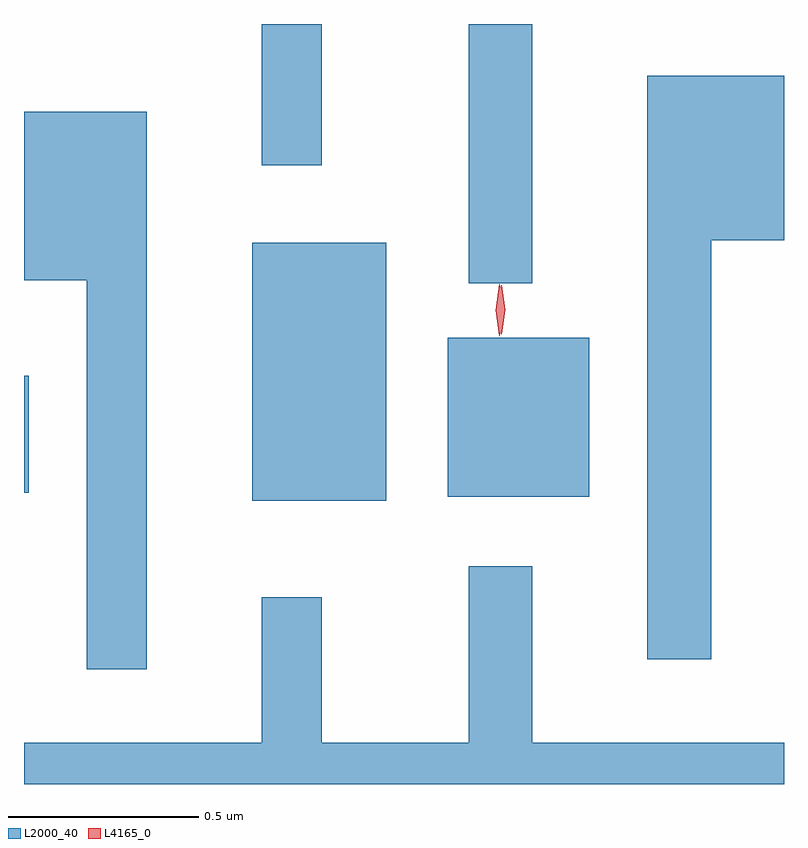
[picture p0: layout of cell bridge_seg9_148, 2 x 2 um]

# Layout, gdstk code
import gdstk
lib = gdstk.Library(unit=1e-6, precision=1e-09)
def R(c, l, rs):  # rectangles x0, y0, x1, y1
    for r in rs: c.add(gdstk.rectangle(r[:2], r[2:], *l))
def P(c, l, *ps):  # polygons
    for p in ps: c.add(gdstk.Polygon(p, *l))
L2000_40 = (2000, 40)
L4165_0 = (4165, 0)

bridge_seg9_148 = lib.new_cell('bridge_seg9_148')
R(bridge_seg9_148, L2000_40, [(1351.791,2077.081,1352.144,2077.759), (1352.306,2077.091,1352.679,2077.509), (1351.191,2077.101,1351.204,2077.409), (1352.361,2077.653,1352.529,2078.335), (1351.816,2077.963,1351.974,2078.335)])
P(bridge_seg9_148, L2000_40, [(1352.999,2077.766),(1353.191,2077.766),(1353.191,2078.199),(1352.831,2078.199),(1352.831,2076.663),(1352.999,2076.663)],
  [(1351.514,2078.104),(1351.191,2078.104),(1351.191,2077.661),(1351.356,2077.661),(1351.356,2076.637),(1351.514,2076.637)],
  [(1353.191,2076.444),(1352.529,2076.444),(1352.529,2076.908),(1352.361,2076.908),(1352.361,2076.444),(1351.974,2076.444),(1351.974,2076.827),(1351.816,2076.827),(1351.816,2076.444),(1351.191,2076.444),(1351.191,2076.335),(1353.191,2076.335)])
P(bridge_seg9_148, L4165_0, [(1352.442,2077.513),(1352.442,2077.514),(1352.432,2077.582),(1352.442,2077.65),(1352.442,2077.65),(1352.443,2077.65),(1352.452,2077.582),(1352.443,2077.514)],
  [(1352.447,2077.518),(1352.447,2077.519),(1352.437,2077.583),(1352.447,2077.647),(1352.447,2077.647),(1352.448,2077.647),(1352.457,2077.583),(1352.448,2077.519)])

lib.write_gds('bridge_seg9_148.gds')
